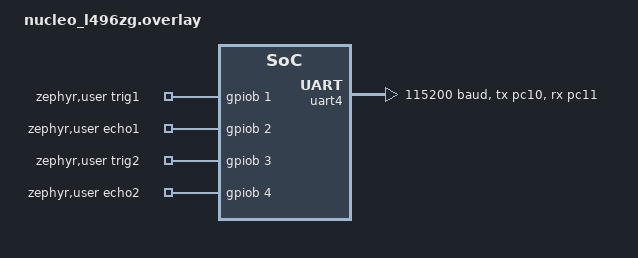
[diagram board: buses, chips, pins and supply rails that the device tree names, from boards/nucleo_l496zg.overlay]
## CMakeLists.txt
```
# SPDX-License-Identifier: Apache-2.0

cmake_minimum_required(VERSION 3.20.0)
find_package(Zephyr REQUIRED HINTS $ENV{ZEPHYR_BASE})
project(FP)

target_sources(app PRIVATE src/main.c)

set(MYLIB_SRC_DIR ${CMAKE_CURRENT_SOURCE_DIR}/../../mylib)
set(MYLIB_INC_DIR ${CMAKE_CURRENT_SOURCE_DIR}/../../include)

zephyr_include_directories(${MYLIB_SRC_DIR})
zephyr_include_directories(${MYLIB_INC_DIR})

FILE(GLOB mylib_sources ${MYLIB_SRC_DIR}/*.c )

zephyr_library_sources(${mylib_sources})
```

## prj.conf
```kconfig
CONFIG_PINCTRL=y
CONFIG_GPIO=y
CONFIG_SERIAL=y
CONFIG_UART_STM32=y
CONFIG_UART_INTERRUPT_DRIVEN=y
CONFIG_UART_ASYNC_API=y
CONFIG_CBPRINTF_FP_SUPPORT=y
CONFIG_MAIN_STACK_SIZE=8192
```

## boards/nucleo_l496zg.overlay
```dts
/ {
    zephyr,user {
        trig1-gpios = <&gpiob 1 GPIO_ACTIVE_HIGH>;
        echo1_gpios = <&gpiob 2 GPIO_ACTIVE_HIGH>;
        trig2-gpios = <&gpiob 3 GPIO_ACTIVE_HIGH>;
        echo2-gpios = <&gpiob 4 GPIO_ACTIVE_HIGH>;
    };
};



&uart4{
    pinctrl-0 = <&uart4_tx_pc10 &uart4_rx_pc11>;
    pinctrl-names = "default";
    current-speed = <115200>;
    status = "okay";
};
```

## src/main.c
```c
/**
********************************************************************************
* @file FP/src/s4702018_main.c
* @author Henry Sommerville - s4702018
* @date 28.04.2024
* @brief main file for final project
********************************************************************************
*/

#include <zephyr/device.h>
#include <zephyr/devicetree.h>
#include <zephyr/kernel.h>
#include <zephyr/drivers/gpio.h>
#include <limits.h>

#include <sys/time.h>
#include <stdio.h>
#include <stdlib.h>
#include <string.h>

#define PACKET_START 0xAA
#define MODE_DEFAULT 0x01
#define MODE_GESTURE 0x02

#define ZEPHYR_USER_NODE DT_PATH(zephyr_user)

/* Define GPIO pins for STM32 */
const struct gpio_dt_spec trig_right =
           GPIO_DT_SPEC_GET(ZEPHYR_USER_NODE, trig1_gpios);

const struct gpio_dt_spec echo_right =
           GPIO_DT_SPEC_GET(ZEPHYR_USER_NODE, echo1_gpios);

const struct gpio_dt_spec trig_left =
           GPIO_DT_SPEC_GET(ZEPHYR_USER_NODE, trig2_gpios);

const struct gpio_dt_spec echo_left =
           GPIO_DT_SPEC_GET(ZEPHYR_USER_NODE, echo2_gpios);


uint32_t get_distance(const struct gpio_dt_spec* trig, const struct gpio_dt_spec* echo) {
    uint32_t cycles_spent = 0;
    uint32_t ms_duration;
    volatile uint32_t val;
    uint32_t cm;
    volatile uint32_t stop_time;
    volatile uint32_t start_time;
    uint8_t ret;

    /* Trigger ultrasonic sensor */
        ret = gpio_pin_set_dt(trig, 1);
        if (ret != 0) {
            printk("Error set trig");
            return 0;
        }
        k_sleep(K_MSEC(10));

        ret = gpio_pin_set_dt(trig, 0);
        if (ret !=0) {
            printk("Error set trig");
            return 0;
        }

        do {
		} while (gpio_pin_get_dt(echo) == 0);
        start_time = k_cycle_get_32();
		
		do {
        } while (gpio_pin_get_dt(echo) == 1);

        stop_time = k_cycle_get_32();
        cycles_spent = stop_time - start_time;
        if (cycles_spent > 1266720) {
            return 0;
        }
        ms_duration = k_cyc_to_us_floor32(cycles_spent);
        cm = ms_duration * 0.034 / 2;

        return cm;
}

void ultrasonic_inits() {
    int ret;
    ret = gpio_pin_configure_dt(&trig_left, GPIO_OUTPUT_INACTIVE);
    if (ret != 0) {
        printk("Error setting trig");
    }
    ret = gpio_pin_configure_dt(&echo_left, GPIO_INPUT);
    if (ret != 0) {
        printk("Error setting echo");
    }

    ret = gpio_pin_configure_dt(&trig_right, GPIO_OUTPUT_INACTIVE);
    if (ret != 0) {
        printk("Error setting trig");
    }
    ret = gpio_pin_configure_dt(&echo_right, GPIO_INPUT);
    if (ret != 0) {
        printk("Error setting echo");
    }
}

int main(void) {
    ultrasonic_inits();
    s4702018_uart_reg_init();
    s4702018_PB_reg_init();
    uint32_t left_distance;
    uint32_t right_distance;
    uint8_t mode = MODE_DEFAULT;
    uint8_t packet[7];
    time_t first_gesture_det_times;
    time_t second_gesture_det_times;
    uint8_t first_gesture_detected;
    uint8_t second_gesture_detected;

    mode = MODE_GESTURE;
    while(1) {
        int gesture_complete = 0;

       right_distance = get_distance(&trig_right, &echo_right);
       printk("RIGHT DISTANCE: %d\n", right_distance);
       left_distance = get_distance(&trig_left, &echo_left);
       printk("LEFT DISTANCE: %d\n", left_distance);

       //Get distance for both ultrasonic.
       uint8_t button = s4702018_button_presses();
       printk("MAIN FILE: %d\n", button);
       if (button == 1) {
            printk("gesture mode: \n");
            mode = MODE_GESTURE;
       } else {
            printk("default mode: \n");
            mode = MODE_DEFAULT; 
       }

        if (mode == MODE_GESTURE) {

            


            //TODO Check if the opposite sensor is zero, or greater than a certain value.
            
            // ############################### GESTURE 1 #########################//
            // This is the right, left, right gesture.
            if (right_distance >= 15 && right_distance <= 30) {
                first_gesture_det_times = k_cyc_to_ms_floor32(k_cycle_get_32());// * 1000;

                printk("(right left right): Right _____ ______");
                k_sleep(K_MSEC(500));


                // Note that we have received our first half of the gesture
                // and then "scan" for the second half of the gesture for 5s.
                while(((k_cyc_to_ms_floor32(k_cycle_get_32())/* * 1000*/) - first_gesture_det_times) <= 2000) {
                    // NOT SUCCESSFULLY GETTING INTO THIS LOOP

                    right_distance = get_distance(&trig_right, &echo_right);
                    //printk("RIGHT DISTANCE: %d\n", right_distance);
                    left_distance = get_distance(&trig_left, &echo_left);
                    printk("LEFT DISTANCE: %d\n", left_distance);
                    //printk("==============================");

                    //printk("Waiting in gesture 1 #################### \n");
                    if (left_distance >= 15 && left_distance <= 30) {
                        
                        
                        if (right_distance <= 50) {
                            // Just prevents holding hands at a fixed distance away reading as a gesture by breaking out if right hands
                            // held fixed

                            break;
                        } else {

                            second_gesture_det_times = k_cyc_to_ms_floor32(k_cycle_get_32());// * 1000;

                            printk("(right left right): Right Left ______\n");

                            // Note that we have received our second part of the gesture
                            // and then "scan" for the final part of the gesture for 5s.
                            second_gesture_detected = 1;
                            // Also want to break out of inner while loop.

                            k_sleep(K_MSEC(500));
                            break;
                        }
                    }
                    k_sleep(K_MSEC(50));
                }

                if (second_gesture_detected) {
                    // Looking for final part of the gesture. 
                    while((k_cyc_to_ms_floor32(k_cycle_get_32()) - second_gesture_det_times) <= 2000) {

                        right_distance = get_distance(&trig_right, &echo_right);
                        printk("RIGHT DISTANCE: %d\n", right_distance);
                        left_distance = get_distance(&trig_left, &echo_left);
                        //printk("LEFT DISTANCE: %d\n", left_distance);
                        //printk("==============================");

                        if (right_distance >= 15 && right_distance <= 30) {
                            if (left_distance <= 50) {
                                break;
                            } else {
                                printk("(right left right): Right Left Right\n");
                                printk("GESTURE 1: COMPLETE ##################\n");
                                // SET DISTANCES TO BE SENT VIA UART. Snake right to left.

                                gesture_complete = 1;

                                packet[0] = PACKET_START;
                                packet[1] = MODE_GESTURE;
                                packet[2] = 1;
                                packet[3] = 0x01;
                                s4702018_uart_transmit(packet, 4);
                                break;
                            }
                        }

                        k_sleep(K_MSEC(50));
                    }
                }
            }


            // ############################### GESTURE 2 #########################//
            // This is the left, right, left gesture.
            if (left_distance >= 15 && left_distance <= 30) {
                first_gesture_det_times = k_cyc_to_ms_floor32(k_cycle_get_32());// * 1000;

                printk("(left right left): Left _____ ______\n");

                k_sleep(K_MSEC(500));

                // Note that we have received our first half of the gesture
                // and then "scan" for the second half of the gesture for 5s.
                while((k_cyc_to_ms_floor32(k_cycle_get_32()) - first_gesture_det_times) <= 2000) {

                        right_distance = get_distance(&trig_right, &echo_right);
                        printk("RIGHT DISTANCE: %d\n", right_distance);
                        left_distance = get_distance(&trig_left, &echo_left);

                    if (right_distance >= 15 && right_distance <= 30) {

                        if (left_distance <= 50) {
                            break;
                        } else {

                        second_gesture_det_times = k_cyc_to_ms_floor32(k_cycle_get_32());
                        printk("(left right left): Left Right ______\n");
                        // Note that we have received our second part of the gesture
                        // and then "scan" for the final part of the gesture for 5s.
                        second_gesture_detected = 1;
                        // Also want to break out of inner while loop.

                        k_sleep(K_MSEC(500));

                        break;
                        }
                    }
                }

                if (second_gesture_detected) {
                    // Looking for final part of the gesture. If this doesn't
                    // happen then we have only detected the first part of the
                    // gesture and should drop out.
                    while((k_cyc_to_ms_floor32(k_cycle_get_32()) - second_gesture_det_times) <= 2000) {

                        right_distance = get_distance(&trig_right, &echo_right);
                        left_distance = get_distance(&trig_left, &echo_left);
                        printk("LEFT DISTANCE: %d\n", left_distance);

                        if (left_distance >= 15 && left_distance <= 30) {

                            if (right_distance <= 50) {
                                break;
                            } else {

                                printk("(left right left): Left Right Left\n");
                                printk("############################# GESTURE COMPLETE ##############\n");


                                gesture_complete = 1;

                                // SET DISTANCES TO BE SENT VIA UART. Snake left to right.
                                packet[0] = PACKET_START;
                                packet[1] = MODE_GESTURE;
                                packet[2] = 1;
                                packet[3] = 0x02;
                                s4702018_uart_transmit(packet, 4);
                                break;
                            }
                        }
                    }
                }
            }

            // ############################### GESTURE 3 #########################//
            // This is the right-side down, up, down gesture. 
            // TO ACTIVATE: Move hand from (10, 30)cm to (40, 60)cm to (10, 30)cm within
            //              a couple of seconds ON THE RIGHT SENSOR.
            if (right_distance >= 40 && right_distance <= 60) {
                first_gesture_det_times = k_cyc_to_ms_floor32(k_cycle_get_32());// * 1000;

                printk("RIGHT (out in out): Out _____ ______\n");
                k_sleep(K_MSEC(500));
                

                // Note that we have received our first half of the gesture
                // and then "scan" for the second half of the gesture for 5s.
                while((k_cyc_to_ms_floor32(k_cycle_get_32())- first_gesture_det_times) <= 2000) {

                    right_distance = get_distance(&trig_right, &echo_right);
                    printk("RIGHT DISTANCE: %d\n", right_distance);

                    if (right_distance >= 10 && right_distance <= 30) {
                        second_gesture_det_times = k_cyc_to_ms_floor32(k_cycle_get_32());

                        // Note that we have received our second part of the gesture
                        // and then "scan" for the final part of the gesture for 5s.
                        second_gesture_detected = 1;
                        // Also want to break out of inner while loop.
                        printk("RIGHT (out in out): Out In _____\n");

                        k_sleep(K_MSEC(500));

                        break;
                    }

                    k_sleep(K_MSEC(50));
                }

                if (second_gesture_detected) {
                    // Looking for final part of the gesture. If this doesn't
                    // happen then we have only detected the first part of the
                    // gesture and should drop out.
                    while((k_cyc_to_ms_floor32(k_cycle_get_32()) - second_gesture_det_times) <= 2000) {

                        right_distance = get_distance(&trig_right, &echo_right);
                        printk("RIGHT DISTANCE: %d\n", right_distance);

                        if (right_distance >= 40 && right_distance <= 60) {
                            printk("RIGHT (out in out): Out In Out\n");
                            printk("#################### GESTURE COMPLETE ################\n");
                            // SET DISTANCES TO BE SENT VIA UART. Rotate left.

                            gesture_complete = 1;

                            packet[0] = PACKET_START;
                            packet[1] = MODE_GESTURE;
                            packet[2] = 1;
                            packet[3] = 0x03;
                            s4702018_uart_transmit(packet, 4);
                            break;
                        }
                    }
                }  
            }



            // ############################### GESTURE 4 #########################//
            // This is the left-side down, up, down gesture. 
            // TO ACTIVATE: Move hand from (10, 30)cm to (40, 60)cm to (10, 30)cm within
            //              a couple of seconds ON THE LEFT SENSOR.
            if (left_distance >= 40 && left_distance <= 60) {
                first_gesture_det_times = k_cyc_to_ms_floor32(k_cycle_get_32());//* 1000;

                printk("LEFT (out in out): Out _____  _____\n");
                k_sleep(K_MSEC(500));

                // Note that we have received our first half of the gesture
                // and then "scan" for the second half of the gesture for 5s.
                while((k_cyc_to_ms_floor32(k_cycle_get_32()) - first_gesture_det_times) <= 2000) {

                    left_distance = get_distance(&trig_left, &echo_left);
                    printk("LEFT DISTANCE: %d\n", left_distance);

                    if (left_distance >= 10 && left_distance <= 30) {
                        second_gesture_det_times = k_cyc_to_ms_floor32(k_cycle_get_32());

                        // Note that we have received our second part of the gesture
                        // and then "scan" for the final part of the gesture for 5s.
                        second_gesture_detected = 1;
                        // Also want to break out of inner while loop.

                        printk("LEFT (out in out): Out In  _____\n");
                        k_sleep(K_MSEC(500));

                        break;
                    }
                }

                if (second_gesture_detected) {
                    // Looking for final part of the gesture. If this doesn't
                    // happen then we have only detected the first part of the
                    // gesture and should drop out.
                    while((k_cyc_to_ms_floor32(k_cycle_get_32()) - second_gesture_det_times) <= 2000) {

                        left_distance = get_distance(&trig_left, &echo_left);
                        printk("LEFT DISTANCE: %d\n", left_distance);

                        if (left_distance >= 40 && left_distance <= 60) {

                            printk("LEFT (out in out): Out In Out\n");
                            printk("################## GESTURE COMPLETE #############\n");
                            
                            
                            gesture_complete = 1;

                            // SET DISTANCES TO BE SENT VIA UART. Rotate left.
                            packet[0] = PACKET_START;
                            packet[1] = MODE_GESTURE;
                            packet[2] = 1;
                            packet[3] = 0x04;
                            s4702018_uart_transmit(packet, 4);
                            break;
                        }
                    }
                }  
            } 

            // ############################### GESTURE 5 #########################//
            // This is stop gesture, just hold both hands in front of sensor very 
            // closely. 
            if (1 <= left_distance && left_distance <= 5) {
                if (1 <= right_distance && right_distance <= 5) {

                    printk("STOP GESTURE\n");
                    printk("################## GESTURE COMPLETE #############\n");

                    gesture_complete = 1;

                    packet[0] = PACKET_START;
                    packet[1] = MODE_GESTURE;
                    packet[2] = 1;
                    packet[3] = 0x04;
                    s4702018_uart_transmit(packet, 4);
                }    
            }

            second_gesture_detected = 0;

        } else {
            // Send distances via UART
            packet[0] = PACKET_START;
            packet[1] = MODE_DEFAULT;
            packet[2] = 4;
            packet[3] = (left_distance >> 8) & 0xFF;
            packet[4] = (left_distance) & 0xFF;
            packet[5] = (right_distance >> 8) & 0xFF;
            packet[6] = (right_distance) & 0xFF;
            s4702018_uart_transmit(packet, 7);
        }
        k_sleep(K_MSEC(500));

        if (gesture_complete) {
            k_sleep(K_MSEC(2500));
        }


    }
    return 0;
}
```
